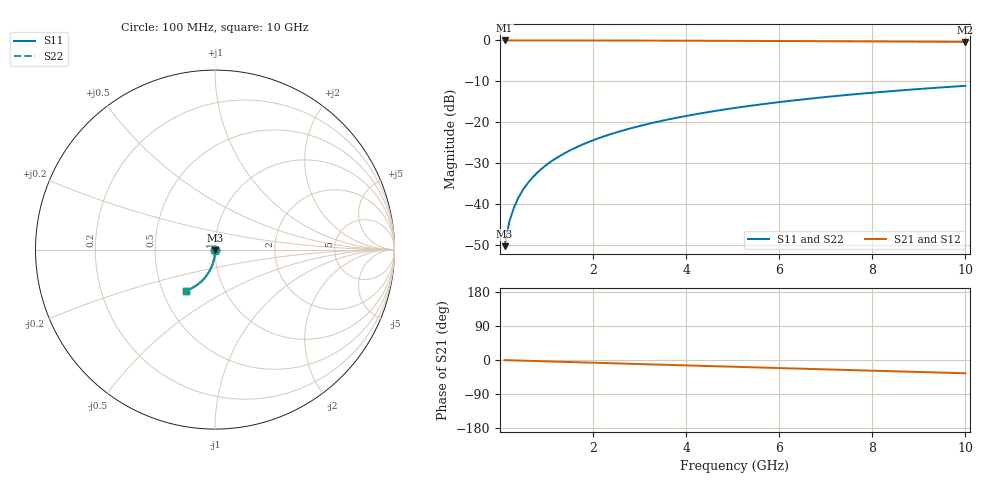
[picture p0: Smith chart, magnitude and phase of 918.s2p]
# Hz S RI R 50.00
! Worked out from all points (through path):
!   100 points, 100 MHz to 10 GHz, reference 50 ohm
!   highest |S21| = 0.00 dB at 100 MHz (marker M1); lowest = -0.4 dB at 10 GHz (marker M2)
!   group delay of S21, straight-line fit = 9.74 ps
!   lowest |S11| = -50.3 dB at 100 MHz (marker M3), VSWR 1.01, Z = 50 - j0.302 ohm
!   |S11| at or under -10 dB: start of sweep to end of sweep
!   |S22| runs from -50.3 to -11.1 dB; largest |S21 - S12| = 1e-12
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1e8  0.000475 -0.00302  0.9995 -0.00621  0.9995 -0.00621  0.000475 -0.00302
2e8  0.000418 -0.00603  0.9994 -0.0124  0.9994 -0.0124  0.000418 -0.00603
3e8  0.000322 -0.00905  0.9993 -0.0186  0.9993 -0.0186  0.000322 -0.00905
4e8  0.000189 -0.0121  0.9991 -0.0248  0.9991 -0.0248  0.000189 -0.0121
5e8  1.77e-05 -0.0151  0.9989 -0.031  0.9989 -0.031  1.77e-05 -0.0151
6e8  -0.000191 -0.0181  0.9986 -0.0372  0.9986 -0.0372  -0.000191 -0.0181
7e8  -0.000437 -0.0211  0.9983 -0.0434  0.9983 -0.0434  -0.000437 -0.0211
8e8  -0.000721 -0.0241  0.9979 -0.0496  0.9979 -0.0496  -0.000721 -0.0241
9e8  -0.00104 -0.0271  0.9975 -0.0558  0.9975 -0.0558  -0.00104 -0.0271
1.1e9  -0.0018 -0.0331  0.9966 -0.0682  0.9966 -0.0682  -0.0018 -0.0331
1.4e9  -0.00321 -0.042  0.9948 -0.0867  0.9948 -0.0867  -0.00321 -0.042
1.8e9  -0.0056 -0.0539  0.9917 -0.1113  0.9917 -0.1113  -0.0056 -0.0539
2.1e9  -0.00778 -0.0627  0.9889 -0.1297  0.9889 -0.1297  -0.00778 -0.0627
2.5e9  -0.0112 -0.0742  0.9846 -0.1541  0.9846 -0.1541  -0.0112 -0.0742
2.9e9  -0.0152 -0.0856  0.9795 -0.1783  0.9795 -0.1783  -0.0152 -0.0856
3.4e9  -0.0209 -0.0996  0.9721 -0.2082  0.9721 -0.2082  -0.0209 -0.0996
4.2e9  -0.0319 -0.121  0.958 -0.2553  0.958 -0.2553  -0.0319 -0.121
5.1e9  -0.0466 -0.1436  0.9389 -0.3068  0.9389 -0.3068  -0.0466 -0.1436
5.9e9  -0.0616 -0.1621  0.9192 -0.3511  0.9192 -0.3511  -0.0616 -0.1621
6.7e9  -0.0782 -0.1789  0.8972 -0.3938  0.8972 -0.3938  -0.0782 -0.1789
8.4e9  -0.1181 -0.2086  0.8435 -0.4786  0.8435 -0.4786  -0.1181 -0.2086
1e10  -0.1596 -0.2282  0.7858 -0.5504  0.7858 -0.5504  -0.1596 -0.2282
